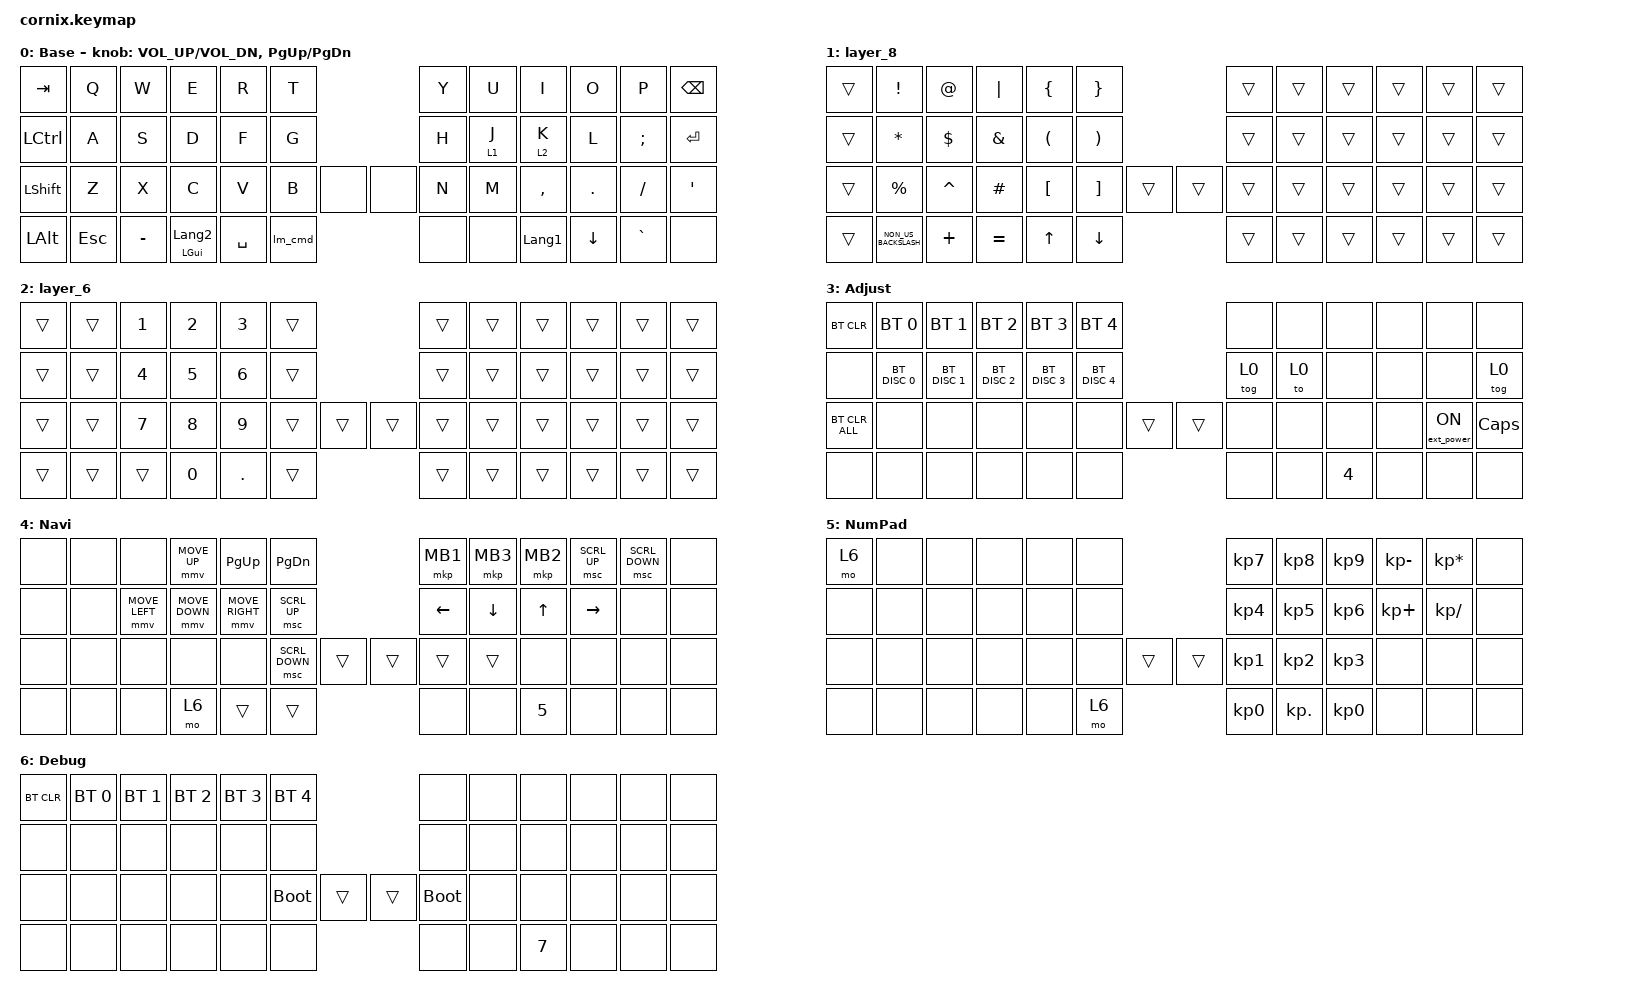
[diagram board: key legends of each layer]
/*
 * Copyright (c) 2020 The ZMK Contributors
 *
 * SPDX-License-Identifier: MIT
 */

#include "zmk-helpers/helper.h"
#include "includes/cornix54.h"

// tap windows for ctl alt and gui

#define HM_TAPPING_TERM 250
#define HM_TAPPING_REPEAT 210

// quick tapping for shift

#define HM_TAPPING_TERM_FAST 200
#define HM_PRIOR_IDLE 70
#define BASE 0
#define WIN 1
#define LOWER 2
#define RAISE 3
#define ADJUST 4
#define NAVI   5
#define NUM    6
#define DEBUG  7

// https://github.com/urob/zmk-config/tree/main#timeless-homerow-mods

#define KEYS_L LT0 LT1 LT2 LT3 LT4 LT5 LM0 LM1 LM2 LM3 LM4 LM5 LB0 LB1 LB2 LB3 LB4 LB5  // left hand
#define KEYS_R RT0 RT1 RT2 RT3 RT4 RT5 RM0 RM1 RM2 RM3 RM4 RM5 RB0 RB1 RB2 RB3 RB4 RB5  // right hand
#define THUMBS LH1 LH0 RH0 RH1
#define KEYS_T LH1 LH0 RH0 RH1
#define ZMK_POINTING_DEFAULT_SCRL_VAL 15

#include <behaviors.dtsi>
#include <dt-bindings/zmk/bt.h>
#include <dt-bindings/zmk/ext_power.h>
#include <dt-bindings/zmk/keys.h>
#include <dt-bindings/zmk/pointing.h>

/ {
    // Activate ADJUST layer by pressing raise and lower

    behaviors {
        // Positional Homerow mods for shift
        // Use faster tapping term and disable some features that may
        // cause false negatives.
        /*
         * Non-Positional Homerow Mods
         * Used for &mm_grescm_gui behavior on left hand.
         *
         * Usage: &hm LSHFT T
         * Tap: T
         * Tap-Tap-Hold: Repeat T
         * Hold: LSHIFT
         */

        lt: layer_tap {
            compatible = "zmk,behavior-hold-tap";
            #binding-cells = <2>;
            bindings = <&mo>, <&kp>;

            flavor = "hold-preferred";
            tapping-term-ms = <HM_TAPPING_TERM>;
            quick-tap-ms = <200>;
        };
    };

    conditional_layers {
        compatible = "zmk,conditional-layers";

        adjust_layer {
            if-layers = <3 3>;
            then-layer = <4>;
        };
    };

    combos {
        compatible = "zmk,combos";

        cb_ltm {
            bindings = <&kp ESC>;
            key-positions = <2 4>;
            layers = <0>;
        };

        cb_lm {
            bindings = <&kp TAB>;
            key-positions = <14 16>;
            layers = <0>;
        };

        cb_enter {
            bindings = <&kp RET>;
            key-positions = <21 19>;
            layers = <0>;
        };

        layer3 {
            bindings = <&kp N3>;
            key-positions = <5 6>;
        };

        layer4 {
            bindings = <&kp N4>;
            key-positions = <5 6>;
        };
    };

    macros {
        lm_cmd: new_macro {
            compatible = "zmk,behavior-macro";
            #binding-cells = <0>;
            bindings =
                <&macro_press>,
                <&mo 2 &kp LEFT_COMMAND>,
                <&macro_pause_for_release>,
                <&macro_release>,
                <&mo 2 &kp LEFT_COMMAND>;

            label = "NEW_MACRO";
        };
    };

    keymap {
        compatible = "zmk,keymap";

        default_layer {
            display-name = "Base";

            // ------------------------------------------------------------------------------------------------------------
            // |   `   |  1  |  2  |  3   |  4   |  5   |                   |  6   |  7    |  8    |  9   |   0   |       |
            // |  ESC  |  Q  |  W  |  E   |  R   |  T   |                   |  Y   |  U    |  I    |  O   |   P   | BKSPC |
            // |  TAB  |  A  |  S  |  D   |  F   |  G   |                   |  H   |  J    |  K    |  L   |   ;   |   '   |
            // | SHIFT |  Z  |  X  |  C   |  V   |  B   |  MUTE  |  |       |  N   |  M    |  ,    |  .   |   /   | SHIFT |
            //               | GUI | ALT  | CTRL | LOWER|  ENTER |  | SPACE | RAISE| CTRL  | ALT   | GUI  |

            bindings = <
&kp TAB         &kp Q    &kp W      &kp E                &kp R      &kp T                  &kp Y  &kp U    &kp I           &kp O     &kp P          &kp BACKSPACE
&kp LCTRL       &kp A    &kp S      &kp D                &kp F      &kp G                  &kp H  &lt 1 J  &lt 2 K         &kp L     &kp SEMICOLON  &kp ENTER
&kp LEFT_SHIFT  &kp Z    &kp X      &kp C                &kp V      &kp B    &none  &none  &kp N  &kp M    &kp COMMA       &kp DOT   &kp FSLH       &kp SINGLE_QUOTE
&kp LEFT_ALT    &kp ESC  &kp MINUS  &mt LGUI LANGUAGE_2  &kp SPACE  &lm_cmd                &none  &none    &kp LANGUAGE_1  &kp DOWN  &kp GRAVE      &none
            >;

            sensor-bindings = <&inc_dec_kp C_VOL_UP C_VOL_DN &inc_dec_kp PG_UP PG_DN>;
        };

        layer_8 {
            bindings = <
&trans  &kp EXCLAMATION       &kp AT_SIGN  &kp PIPE       &kp LEFT_BRACE        &kp RIGHT_BRACE                        &trans  &trans  &trans  &trans  &trans  &trans
&trans  &kp ASTERISK          &kp DOLLAR   &kp AMPERSAND  &kp LEFT_PARENTHESIS  &kp RIGHT_PARENTHESIS                  &trans  &trans  &trans  &trans  &trans  &trans
&trans  &kp PERCENT           &kp CARET    &kp HASH       &kp LEFT_BRACKET      &kp RIGHT_BRACKET      &trans  &trans  &trans  &trans  &trans  &trans  &trans  &trans
&trans  &kp NON_US_BACKSLASH  &kp PLUS     &kp EQUAL      &kp UP_ARROW          &kp DOWN                               &trans  &trans  &trans  &trans  &trans  &trans
            >;
        };

        layer_6 {
            bindings = <
&trans  &trans  &kp NUMBER_1  &kp NUMBER_2  &kp NUMBER_3  &trans                  &trans  &trans  &trans  &trans  &trans  &trans
&trans  &trans  &kp NUMBER_4  &kp N5        &kp NUMBER_6  &trans                  &trans  &trans  &trans  &trans  &trans  &trans
&trans  &trans  &kp N7        &kp N8        &kp N9        &trans  &trans  &trans  &trans  &trans  &trans  &trans  &trans  &trans
&trans  &trans  &trans        &kp N0        &kp PERIOD    &trans                  &trans  &trans  &trans  &trans  &trans  &trans
            >;
        };

        Adjust_layer {
            display-name = "Adjust";

            // ----------------------------------------------------------------------------------------------------------------------------
            // | BTCLR  |  BT1    |  BT2    |   BT3   |   BT4   |   BT5   |                  |      |      |       |      |       |       |
            // | moDEBUG| RGB_HUD | RGB_HUI | RGB_SAD | RGB_SAI | RGB_EFF |                  |      |      |       |      |       |       |
            // | EXTPWR | RGB_BRD | RGB_BRI |         |         |         |                  |      |      |       |      |       |       |
            // |        |         |         |         |         |         | RGB_TOG | |      |      |      |       |      |       |       |
            //                    |         |         |         |         |         | |      |      |      |       |      |

            bindings = <
&bt BT_CLR      &bt BT_SEL 0   &bt BT_SEL 1   &bt BT_SEL 2   &bt BT_SEL 3   &bt BT_SEL 4                   &none   &none  &none   &none  &none             &none
&none           &bt BT_DISC 0  &bt BT_DISC 1  &bt BT_DISC 2  &bt BT_DISC 3  &bt BT_DISC 4                  &tog 0  &to 0  &none   &none  &none             &tog 0
&bt BT_CLR_ALL  &none          &none          &none          &none          &none          &trans  &trans  &none   &none  &none   &none  &ext_power EP_ON  &kp CAPSLOCK
&none           &none          &none          &none          &none          &none                          &none   &none  &kp N4  &none  &none             &none
            >;
        };

        Navi_layer {
            display-name = "Navi";
            bindings = <
&none  &none  &none           &mmv MOVE_UP    &kp PAGE_UP      &kp PAGE_DOWN                   &mkp MB1  &mkp MB3  &mkp MB2  &msc SCRL_UP  &msc SCRL_DOWN  &none
&none  &none  &mmv MOVE_LEFT  &mmv MOVE_DOWN  &mmv MOVE_RIGHT  &msc SCRL_UP                    &kp LEFT  &kp DOWN  &kp UP    &kp RIGHT     &none           &none
&none  &none  &none           &none           &none            &msc SCRL_DOWN  &trans  &trans  &trans    &trans    &none     &none         &none           &none
&none  &none  &none           &mo 6           &trans           &trans                          &none     &none     &kp N5    &none         &none           &none
            >;
        };

        KeyPad_layer {
            display-name = "NumPad";
            bindings = <
&mo 6  &none  &none  &none  &none  &none                  &kp KP_N7        &kp KP_N8        &kp KP_N9        &kp KP_MINUS  &kp KP_MULTIPLY  &none
&none  &none  &none  &none  &none  &none                  &kp KP_NUMBER_4  &kp KP_NUMBER_5  &kp KP_N6        &kp KP_PLUS   &kp KP_DIVIDE    &none
&none  &none  &none  &none  &none  &none  &trans  &trans  &kp KP_NUMBER_1  &kp KP_NUMBER_2  &kp KP_N3        &none         &none            &none
&none  &none  &none  &none  &none  &mo 6                  &kp KP_N0        &kp KP_DOT       &kp KP_NUMBER_0  &none         &none            &none
            >;
        };

        Debug_layer {
            display-name = "Debug";

            // ----------------------------------------------------------------------------------------------------------------------------
            // | BTCLR  |  BT1    |  BT2    |   BT3   |   BT4   |   BT5   |                  |      |      |       |      |       |       |
            // | EXTPWR | BTCLR | RGB_HUI | RGB_SAD | RGB_SAI | RGB_EFF |                  |      |      |       |      |       |       |
            // |        | RGB_BRD | RGB_BRI |         |         |         |                  |      |      |       |      |       |       |
            // |        |         |         |         |         |         | RGB_TOG | |      |      |      |       |      |       |       |
            //                    |         |         |         |         |         | |      |      |      |       |      |

            bindings = <
&bt BT_CLR  &bt BT_SEL 0  &bt BT_SEL 1  &bt BT_SEL 2  &bt BT_SEL 3  &bt BT_SEL 4                  &none        &none  &none   &none  &none  &none
&none       &none         &none         &none         &none         &none                         &none        &none  &none   &none  &none  &none
&none       &none         &none         &none         &none         &bootloader   &trans  &trans  &bootloader  &none  &none   &none  &none  &none
&none       &none         &none         &none         &none         &none                         &none        &none  &kp N7  &none  &none  &none
            >;
        };
    };
};
